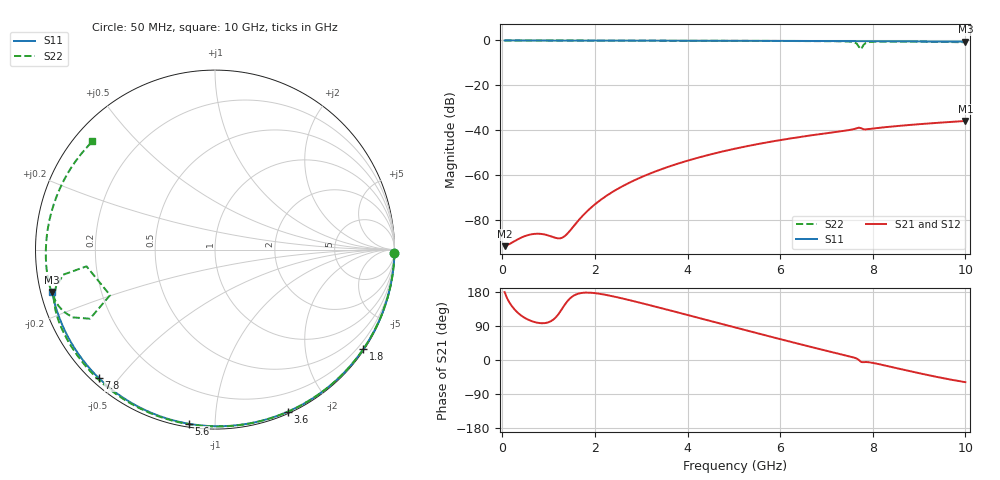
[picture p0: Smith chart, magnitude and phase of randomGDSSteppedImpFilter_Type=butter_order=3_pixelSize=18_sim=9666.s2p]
! freq	dB(S11)	phase(S11)	dB(S12)	phase(S12)
!  dB(S21)	phase(S21)	dB(S22)	phase(S22)
!S-par simulation data
#  GHz  S  DB  R 50
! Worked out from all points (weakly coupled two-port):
!   200 points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, 50 MHz to 10 GHz, reference 50 ohm
!   highest |S21| = -35.89 dB at 10 GHz (marker M1); lowest = -91.7 dB at 50 MHz (marker M2)
!   lowest |S11| = -0.6 dB at 10 GHz (marker M3), VSWR 31.51, Z = 1.61 - j6.39 ohm
!   |S11| at or under -10 dB: nowhere
!   |S22| runs from -3.9 to 0.0 dB; largest |S21 - S12| = 0
!   S11 on the Smith chart (normalised r, x): 50 MHz: open; 1.8 GHz: 0.03, -3.28; 3.6 GHz: 0.02, -1.54; 5.6 GHz: 0.02, -0.86; 7.8 GHz: 0.02, -0.44; 10 GHz: 0.03, -0.13
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0.05  -0.00 -1.0  -91.70 179.1  -91.70 179.1  -0.00 -1.1
0.8  -0.02 -15.2  -86.18 97.6  -86.18 97.6  -0.02 -18.1
1.65  -0.04 -31.1  -80.09 175.3  -80.09 175.3  -0.05 -37.0
1.75  -0.04 -32.9  -77.82 177.4  -77.82 177.4  -0.05 -39.2
1.8  -0.04 -33.9  -76.77 177.8  -76.77 177.8  -0.05 -40.3
2.45  -0.06 -45.7  -66.66 166.4  -66.66 166.4  -0.07 -54.4
3.4  -0.08 -62.4  -57.67 137.9  -57.67 137.9  -0.10 -74.3
3.6  -0.09 -65.8  -56.21 131.6  -56.21 131.6  -0.10 -78.4
5.05  -0.14 -89.8  -48.13 85.2  -48.13 85.2  -0.17 -107.6
5.6  -0.16 -98.6  -45.87 67.7  -45.87 67.7  -0.20 -118.5
6.7  -0.23 -115.5  -42.21 33.4  -42.21 33.4  -0.28 -141.0
7.25  -0.26 -123.8  -40.66 16.8  -40.66 16.8  -0.36 -153.7
7.55  -0.29 -128.3  -39.71 7.9  -39.71 7.9  -0.61 -163.9
7.65  -0.30 -129.8  -39.18 4.0  -39.18 4.0  -1.33 -170.6
7.7  -0.30 -130.6  -38.87 0.1  -38.87 0.1  -2.83 -172.6
7.75  -0.30 -131.3  -39.13 -5.2  -39.13 -5.2  -3.91 -156.5
7.8  -0.31 -132.1  -39.61 -5.8  -39.61 -5.8  -1.98 -151.1
7.85  -0.31 -132.8  -39.64 -5.3  -39.64 -5.3  -1.12 -154.6
7.95  -0.32 -134.3  -39.41 -6.5  -39.41 -6.5  -0.66 -160.3
8.35  -0.36 -140.3  -38.49 -16.9  -38.49 -16.9  -0.50 -173.1
9.25  -0.46 -153.8  -36.93 -41.3  -36.93 -41.3  -0.61 162.7
10  -0.55 -165.4  -35.89 -58.4  -35.89 -58.4  -0.81 138.6
